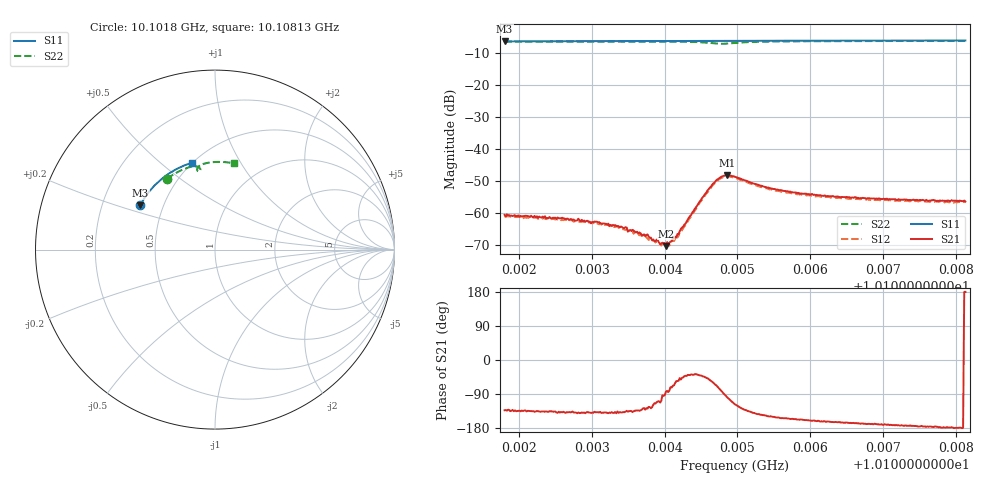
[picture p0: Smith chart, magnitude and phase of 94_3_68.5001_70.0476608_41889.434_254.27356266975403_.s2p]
#  HZ  S  RI  R  50.00
! Rohde & Schwarz Vector Network Analyzer
! Rohde-Schwarz,ZNB20-2Port,1311601062101988,3.16
! Created: UTC 3/20/2024, 5:07:56 PM
! freq[Hz]  re:S11  im:S11  re:S21  im:S21  re:S12  im:S12  re:S22  im:S22
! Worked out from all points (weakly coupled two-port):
!   401 points, 10.1018 GHz to 10.10813 GHz, reference 50 ohm
!   highest |S21| = -48.12 dB at 10.10486 GHz (marker M1); lowest = -70.2 dB at 10.10402 GHz (marker M2)
!   lowest |S11| = -6.3 dB at 10.1018 GHz (marker M3), VSWR 2.88, Z = 18.5 + j12 ohm
!   |S11| at or under -10 dB: nowhere
!   |S22| runs from -7.0 to -6.2 dB; largest |S21 - S12| = 0.00039
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1.01018e10  -0.4164 0.2471  -0.000638 -0.000691  -0.000566 -0.000701  -0.2662 0.3953
1.010256e10  -0.3929 0.2872  -0.000622 -0.000548  -0.000538 -0.000595  -0.225 0.4227
1.0102861e10  -0.3824 0.3021  -0.00059 -0.00052  -0.000505 -0.000535  -0.2076 0.4323
1.0103067e10  -0.3752 0.3124  -0.000545 -0.000497  -0.000495 -0.000488  -0.1955 0.4386
1.0103368e10  -0.364 0.3265  -0.000474 -0.000407  -0.000401 -0.000433  -0.1769 0.447
1.01037e10  -0.3509 0.3421  -0.000276 -0.000353  -0.000272 -0.000369  -0.1553 0.4552
1.0103748e10  -0.349 0.3443  -0.000274 -0.000362  -0.000235 -0.000349  -0.152 0.4564
1.0103843e10  -0.3451 0.3486  -0.000186 -0.00034  -0.000143 -0.000341  -0.1454 0.4583
1.0103922e10  -0.3417 0.3519  -0.000111 -0.000329  -4.88e-05 -0.000325  -0.1398 0.46
1.0104017e10  -0.3377 0.3562  3.45e-05 -0.000306  2.26e-05 -0.000328  -0.1328 0.4616
1.0104049e10  -0.3364 0.3576  3.06e-05 -0.000331  6.13e-05 -0.000328  -0.1305 0.4621
1.0104096e10  -0.3344 0.3597  0.000108 -0.000345  0.000159 -0.000335  -0.1268 0.4627
1.0104207e10  -0.3297 0.3643  0.00035 -0.000385  0.000361 -0.000349  -0.1178 0.4639
1.0104492e10  -0.3172 0.3762  0.00118 -0.00101  0.00122 -0.00088  -0.092 0.4599
1.0104682e10  -0.3084 0.3839  0.00138 -0.00264  0.00156 -0.00242  -0.0813 0.4439
1.0104777e10  -0.3042 0.3875  0.000567 -0.00365  0.000874 -0.00342  -0.0867 0.436
1.0104856e10  -0.3006 0.3907  -0.000529 -0.00389  -0.000169 -0.00376  -0.0948 0.4368
1.0104967e10  -0.2956 0.3948  -0.00168 -0.00329  -0.00131 -0.00332  -0.0995 0.4469
1.010541e10  -0.2745 0.4114  -0.00212 -0.00132  -0.00195 -0.00146  -0.0726 0.4747
1.0106028e10  -0.2432 0.4322  -0.00188 -0.000668  -0.00169 -0.000799  -0.0288 0.4852
1.0107089e10  -0.1866 0.4622  -0.00164 -0.00024  -0.00154 -0.000405  0.0415 0.4881
1.0108134e10  -0.1273 0.4839  -0.00152 4.53e-06  -0.00149 -0.000146  0.1084 0.4803
